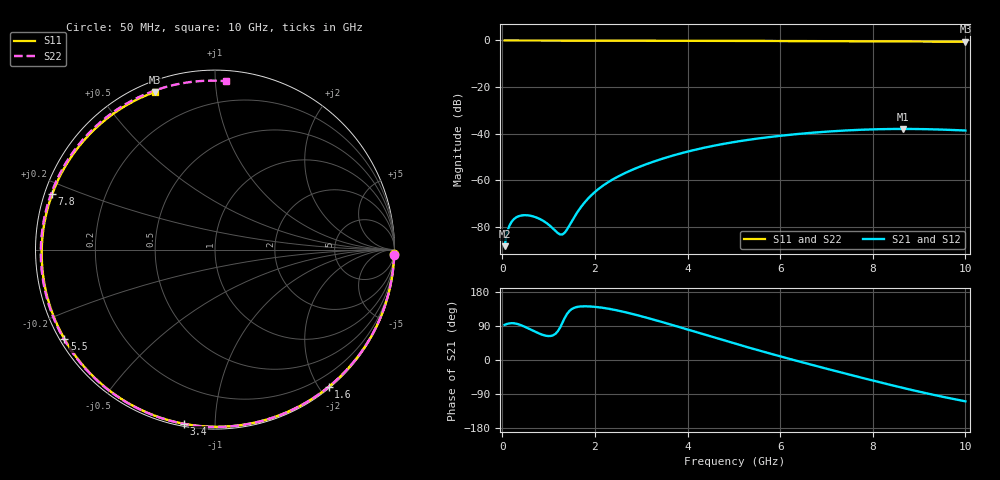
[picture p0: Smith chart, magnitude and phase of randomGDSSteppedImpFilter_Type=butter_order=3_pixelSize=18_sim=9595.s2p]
! freq	dB(S11)	phase(S11)	dB(S12)	phase(S12)
!  dB(S21)	phase(S21)	dB(S22)	phase(S22)
!S-par simulation data
#  GHz  S  DB  R 50
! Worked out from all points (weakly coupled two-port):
!   200 points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, 50 MHz to 10 GHz, reference 50 ohm
!   highest |S21| = -37.92 dB at 8.65 GHz (marker M1); lowest = -88.2 dB at 50 MHz (marker M2)
!   lowest |S11| = -0.5 dB at 10 GHz (marker M3), VSWR 32.42, Z = 2.28 + j34.4 ohm
!   |S11| at or under -10 dB: nowhere
!   |S22| runs from -0.5 to 0.0 dB; largest |S21 - S12| = 0
!   S11 on the Smith chart (normalised r, x): 50 MHz: 3, -73; 1.6 GHz: 0.02, -2.13; 3.4 GHz: 0.01, -0.84; 5.5 GHz: 0.01, -0.27; 7.8 GHz: 0.02, +0.17; 10 GHz: 0.05, +0.69
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0.05  -0.01 -1.6  -88.15 92.7  -88.15 92.7  -0.00 -1.8
0.15  -0.02 -4.8  -79.54 96.6  -79.54 96.6  -0.01 -5.6
0.3  -0.02 -9.7  -75.82 95.9  -75.82 95.9  -0.02 -11.3
0.5  -0.02 -16.1  -74.88 86.9  -74.88 86.9  -0.03 -18.8
0.8  -0.03 -25.6  -76.41 69.6  -76.41 69.6  -0.04 -30.0
1.05  -0.04 -33.5  -79.78 63.5  -79.78 63.5  -0.05 -39.1
1.4  -0.06 -44.3  -80.94 121.9  -80.94 121.9  -0.06 -51.5
1.45  -0.06 -45.8  -79.27 129.4  -79.27 129.4  -0.07 -53.3
1.6  -0.06 -50.3  -74.25 139.5  -74.25 139.5  -0.07 -58.4
1.75  -0.07 -54.8  -70.09 141.6  -70.09 141.6  -0.08 -63.5
2  -0.08 -62.1  -64.92 140.3  -64.92 140.3  -0.09 -71.8
2.35  -0.09 -72.1  -59.96 134.1  -59.96 134.1  -0.10 -83.0
3.4  -0.12 -100.2  -51.04 102.0  -51.04 102.0  -0.13 -113.8
4.25  -0.16 -121.0  -46.45 71.4  -46.45 71.4  -0.17 -136.2
5.05  -0.19 -139.4  -43.39 42.4  -43.39 42.4  -0.20 -155.8
5.5  -0.22 -149.3  -42.07 26.7  -42.07 26.7  -0.23 -166.4
6.7  -0.29 -175.2  -39.54 -13.3  -39.54 -13.3  -0.30 166.0
7.8  -0.37 161.2  -38.23 -48.0  -38.23 -48.0  -0.37 140.6
8.35  -0.41 149.1  -37.95 -64.8  -37.95 -64.8  -0.41 127.5
8.65  -0.44 142.4  -37.92 -73.6  -37.92 -73.6  -0.44 120.3
9.35  -0.49 126.3  -38.12 -93.0  -38.12 -93.0  -0.49 102.9
10  -0.54 110.8  -38.60 -109.0  -38.60 -109.0  -0.54 86.3
